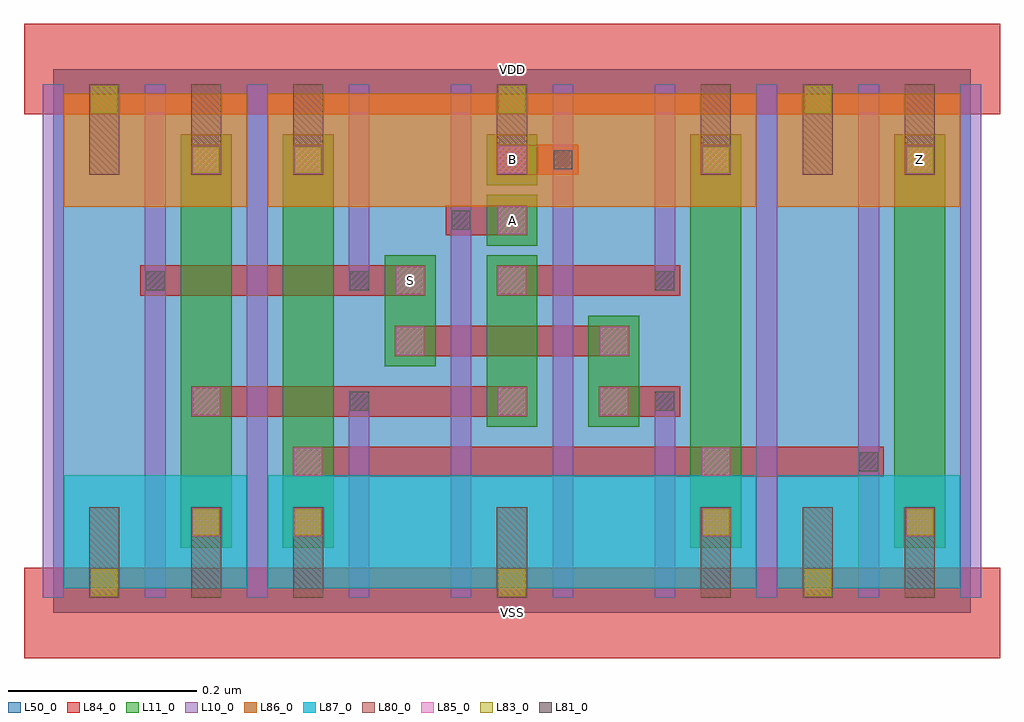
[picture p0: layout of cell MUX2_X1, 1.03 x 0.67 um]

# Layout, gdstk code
import gdstk
lib = gdstk.Library(unit=1e-6, precision=1e-09)
def R(c, l, rs):  # rectangles x0, y0, x1, y1
    for r in rs: c.add(gdstk.rectangle(r[:2], r[2:], *l))
def A(c, l, x, y, w, h, nx, ny, dx, dy):  # array of equal rectangles
    R(c, l, [(x+i*dx, y+j*dy, x+i*dx+w, y+j*dy+h) for i in range(nx) for j in range(ny)])
L10_0 = (10, 0)
L11_0 = (11, 0)
L50_0 = (50, 0)
L80_0 = (80, 0)
L81_0 = (81, 0)
L83_0 = (83, 0)
L84_0 = (84, 0)
L85_0 = (85, 0)
L86_0 = (86, 0)
L87_0 = (87, 0)

mux2_x1 = lib.new_cell('MUX2_X1')
A(mux2_x1, L10_0, -0.011, 0.016, 0.022, 0.544, 3, 1, 0.108, 0)
A(mux2_x1, L10_0, 0.745, 0.016, 0.022, 0.544, 3, 1, 0.108, 0)
R(mux2_x1, L10_0, [(0.313,0.016,0.335,0.235), (0.421,0.016,0.443,0.56), (0.529,0.016,0.551,0.56), (0.637,0.016,0.659,0.235), (0.313,0.341,0.335,0.56), (0.637,0.341,0.659,0.56)])
R(mux2_x1, L11_0, [(0.135,0.069,0.189,0.507), (0.243,0.069,0.297,0.507), (0.675,0.069,0.729,0.507), (0.891,0.069,0.945,0.507), (0.459,0.197,0.513,0.379), (0.567,0.197,0.621,0.315), (0.351,0.261,0.405,0.379), (0.459,0.389,0.513,0.443), (0.459,0.453,0.513,0.507)])
R(mux2_x1, L50_0, [(0,0,0.972,0.576)])
A(mux2_x1, L80_0, 0.038, 0.016, 0.032, 0.096, 3, 2, 0.108, 0.448)
A(mux2_x1, L80_0, 0.686, 0.016, 0.032, 0.096, 3, 2, 0.108, 0.448)
R(mux2_x1, L80_0, [(0.47,0.016,0.502,0.112), (0.47,0.464,0.502,0.56)])
R(mux2_x1, L81_0, [(0.854,0.15,0.874,0.17), (0.314,0.214,0.334,0.234), (0.638,0.214,0.658,0.234), (0.098,0.342,0.118,0.362), (0.314,0.342,0.334,0.362), (0.638,0.342,0.658,0.362), (0.422,0.406,0.442,0.426), (0.53,0.47,0.55,0.49)])
R(mux2_x1, L83_0, [(0.04,0.018,0.068,0.046), (0.472,0.018,0.5,0.046), (0.796,0.018,0.824,0.046), (0.148,0.082,0.176,0.11), (0.256,0.082,0.284,0.11), (0.688,0.082,0.716,0.11), (0.904,0.082,0.932,0.11), (0.148,0.466,0.176,0.494), (0.256,0.466,0.284,0.494), (0.688,0.466,0.716,0.494), (0.904,0.466,0.932,0.494), (0.04,0.53,0.068,0.558), (0.472,0.53,0.5,0.558), (0.796,0.53,0.824,0.558)])
R(mux2_x1, L84_0, [(-0.031,-0.048,1.003,0.048), (0.146,0.08,0.178,0.112), (0.254,0.08,0.286,0.112), (0.686,0.08,0.718,0.112), (0.902,0.08,0.934,0.112), (0.254,0.144,0.88,0.176), (0.146,0.208,0.502,0.24), (0.578,0.208,0.664,0.24), (0.362,0.272,0.61,0.304), (0.092,0.336,0.394,0.368), (0.47,0.336,0.664,0.368), (0.416,0.4,0.502,0.432), (0.146,0.464,0.178,0.496), (0.254,0.464,0.286,0.496), (0.47,0.464,0.556,0.496), (0.686,0.464,0.718,0.496), (0.902,0.464,0.934,0.496), (-0.031,0.528,1.003,0.624)])
A(mux2_x1, L85_0, 0.255, 0.465, 0.03, 0.03, 4, 1, 0.216, 0)
R(mux2_x1, L85_0, [(0.147,0.081,0.177,0.111), (0.255,0.081,0.285,0.111), (0.687,0.081,0.717,0.111), (0.903,0.081,0.933,0.111), (0.255,0.145,0.285,0.175), (0.687,0.145,0.717,0.175), (0.147,0.209,0.177,0.239), (0.471,0.209,0.501,0.239), (0.579,0.209,0.609,0.239), (0.363,0.273,0.393,0.303), (0.579,0.273,0.609,0.303), (0.363,0.337,0.393,0.367), (0.471,0.337,0.501,0.367), (0.471,0.401,0.501,0.431), (0.147,0.465,0.177,0.495)])
R(mux2_x1, L86_0, [(0.011,0.43,0.205,0.55), (0.227,0.43,0.745,0.55), (0.767,0.43,0.961,0.55)])
R(mux2_x1, L87_0, [(0.011,0.026,0.205,0.146), (0.227,0.026,0.745,0.146), (0.767,0.026,0.961,0.146)])
mux2_x1.add(gdstk.Label('VDD', (0.486,0.576), layer=88, texttype=0))
mux2_x1.add(gdstk.Label('VSS', (0.486,0), layer=88, texttype=0))
mux2_x1.add(gdstk.Label('Z', (0.918,0.48), layer=31, texttype=0))
mux2_x1.add(gdstk.Label('S', (0.378,0.352), layer=31, texttype=0))
mux2_x1.add(gdstk.Label('B', (0.486,0.48), layer=31, texttype=0))
mux2_x1.add(gdstk.Label('A', (0.486,0.416), layer=31, texttype=0))

lib.write_gds('MUX2_X1.gds')
